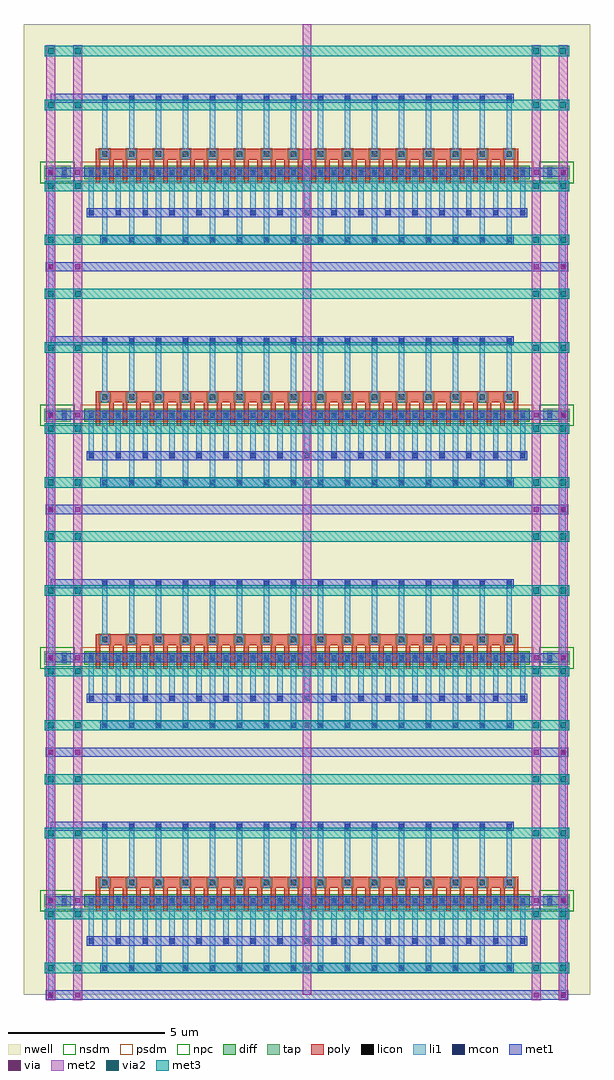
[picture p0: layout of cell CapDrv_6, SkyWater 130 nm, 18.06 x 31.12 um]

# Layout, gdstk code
from math import pi, radians
import gdstk
lib = gdstk.Library(unit=1e-6, precision=1e-09)
def R(c, l, rs):  # rectangles x0, y0, x1, y1
    for r in rs: c.add(gdstk.rectangle(r[:2], r[2:], *l))
def A(c, l, x, y, w, h, nx, ny, dx, dy):  # array of equal rectangles
    R(c, l, [(x+i*dx, y+j*dy, x+i*dx+w, y+j*dy+h) for i in range(nx) for j in range(ny)])
def P(c, l, *ps):  # polygons
    for p in ps: c.add(gdstk.Polygon(p, *l))
nwell = (64, 20)
diff = (65, 20)
tap = (65, 44)
poly = (66, 20)
licon = (66, 44)
li1 = (67, 20)
mcon = (67, 44)
met1 = (68, 20)
via = (68, 44)
met2 = (69, 20)
via2 = (69, 44)
met3 = (70, 20)
nsdm = (93, 44)
psdm = (94, 20)
npc = (95, 20)

mosend_6 = lib.new_cell('MOSEnd_6')
R(mosend_6, nwell, [(0,0,16.34,2.15)])

mosend_11 = lib.new_cell('MOSEnd_11')
R(mosend_11, nwell, [(0,0,16.34,3.87)])

mostap_1 = lib.new_cell('MOSTap_1')
R(mostap_1, nwell, [(-0.335,0,0.765,1.72)])
R(mostap_1, tap, [(-0.205,0.655,0.635,1.075)])
R(mostap_1, licon, [(-0.085,0.78,0.085,0.95), (0.345,0.78,0.515,0.95)])
R(mostap_1, li1, [(-0.085,0.7,0.085,1.03), (0.345,0.7,0.515,1.03)])
R(mostap_1, nsdm, [(-0.335,0.525,0.765,1.205)])

mosconn_2 = lib.new_cell('MOSConn_2')
R(mosconn_2, nwell, [(-0.345,0,14.105,1.72)])
R(mosconn_2, diff, [(-0.215,0.655,13.975,1.075)])
A(mosconn_2, poly, 0.345, 0.115, 0.17, 0.33, 16, 1, 0.86, 0)
P(mosconn_2, poly, [(13.47,1.205),(13.47,0.455),(13.19,0.455),(13.19,1.205),(13.04,1.205),(13.04,0.455),(12.76,0.455),(12.76,1.205),(12.61,1.205),(12.61,0.455),(12.33,0.455),(12.33,1.205),(12.18,1.205),(12.18,0.455),(11.9,0.455),(11.9,1.205),(11.75,1.205),(11.75,0.455),(11.47,0.455),(11.47,1.205),(11.32,1.205),(11.32,0.455),(11.04,0.455),(11.04,1.205),(10.89,1.205),(10.89,0.455),(10.61,0.455),(10.61,1.205),(10.46,1.205),(10.46,0.455),(10.18,0.455),(10.18,1.205),(10.03,1.205),(10.03,0.455),(9.75,0.455),(9.75,1.205),(9.6,1.205),(9.6,0.455),(9.32,0.455),(9.32,1.205),(9.17,1.205),(9.17,0.455),(8.89,0.455),(8.89,1.205),(8.74,1.205),(8.74,0.455),(8.46,0.455),(8.46,1.205),(8.31,1.205),(8.31,0.455),(8.03,0.455),(8.03,1.205),(7.88,1.205),(7.88,0.455),(7.6,0.455),(7.6,1.205),(7.45,1.205),(7.45,0.455),(7.17,0.455),(7.17,1.205),(7.02,1.205),(7.02,0.455),(6.74,0.455),(6.74,1.205),(6.59,1.205),(6.59,0.455),(6.31,0.455),(6.31,1.205),(6.16,1.205),(6.16,0.455),(5.88,0.455),(5.88,1.205),(5.73,1.205),(5.73,0.455),(5.45,0.455),(5.45,1.205),(5.3,1.205),(5.3,0.455),(5.02,0.455),(5.02,1.205),(4.87,1.205),(4.87,0.455),(4.59,0.455),(4.59,1.205),(4.44,1.205),(4.44,0.455),(4.16,0.455),(4.16,1.205),(4.01,1.205),(4.01,0.455),(3.73,0.455),(3.73,1.205),(3.58,1.205),(3.58,0.455),(3.3,0.455),(3.3,1.205),(3.15,1.205),(3.15,0.455),(2.87,0.455),(2.87,1.205),(2.72,1.205),(2.72,0.455),(2.44,0.455),(2.44,1.205),(2.29,1.205),(2.29,0.455),(2.01,0.455),(2.01,1.205),(1.86,1.205),(1.86,0.455),(1.58,0.455),(1.58,1.205),(1.43,1.205),(1.43,0.455),(1.15,0.455),(1.15,1.205),(1,1.205),(1,0.455),(0.72,0.455),(0.72,1.205),(0.57,1.205),(0.57,0.455),(0.29,0.455),(0.29,1.205),(0.14,1.205),(0.14,0.105),(13.62,0.105),(13.62,1.205)])
A(mosconn_2, licon, 0.345, 0.195, 0.17, 0.17, 16, 1, 0.86, 0)
A(mosconn_2, licon, -0.085, 0.78, 0.17, 0.17, 33, 1, 0.43, 0)
A(mosconn_2, li1, 0.29, 0.145, 0.28, 0.27, 16, 1, 0.86, 0)
A(mosconn_2, li1, -0.085, 0.7, 0.17, 0.33, 33, 1, 0.43, 0)
P(mosconn_2, li1, [(0.345,0.445),(0.345,0.415),(0.29,0.415),(0.29,0.145),(0.345,0.145),(0.345,0.115),(0.515,0.115),(0.515,0.145),(0.57,0.145),(0.57,0.415),(0.515,0.415),(0.515,0.445)],
  [(1.205,0.445),(1.205,0.415),(1.15,0.415),(1.15,0.145),(1.205,0.145),(1.205,0.115),(1.375,0.115),(1.375,0.145),(1.43,0.145),(1.43,0.415),(1.375,0.415),(1.375,0.445)],
  [(2.065,0.445),(2.065,0.415),(2.01,0.415),(2.01,0.145),(2.065,0.145),(2.065,0.115),(2.235,0.115),(2.235,0.145),(2.29,0.145),(2.29,0.415),(2.235,0.415),(2.235,0.445)],
  [(2.925,0.445),(2.925,0.415),(2.87,0.415),(2.87,0.145),(2.925,0.145),(2.925,0.115),(3.095,0.115),(3.095,0.145),(3.15,0.145),(3.15,0.415),(3.095,0.415),(3.095,0.445)],
  [(3.785,0.445),(3.785,0.415),(3.73,0.415),(3.73,0.145),(3.785,0.145),(3.785,0.115),(3.955,0.115),(3.955,0.145),(4.01,0.145),(4.01,0.415),(3.955,0.415),(3.955,0.445)],
  [(4.645,0.445),(4.645,0.415),(4.59,0.415),(4.59,0.145),(4.645,0.145),(4.645,0.115),(4.815,0.115),(4.815,0.145),(4.87,0.145),(4.87,0.415),(4.815,0.415),(4.815,0.445)],
  [(5.505,0.445),(5.505,0.415),(5.45,0.415),(5.45,0.145),(5.505,0.145),(5.505,0.115),(5.675,0.115),(5.675,0.145),(5.73,0.145),(5.73,0.415),(5.675,0.415),(5.675,0.445)],
  [(6.365,0.445),(6.365,0.415),(6.31,0.415),(6.31,0.145),(6.365,0.145),(6.365,0.115),(6.535,0.115),(6.535,0.145),(6.59,0.145),(6.59,0.415),(6.535,0.415),(6.535,0.445)],
  [(7.225,0.445),(7.225,0.415),(7.17,0.415),(7.17,0.145),(7.225,0.145),(7.225,0.115),(7.395,0.115),(7.395,0.145),(7.45,0.145),(7.45,0.415),(7.395,0.415),(7.395,0.445)],
  [(8.085,0.445),(8.085,0.415),(8.03,0.415),(8.03,0.145),(8.085,0.145),(8.085,0.115),(8.255,0.115),(8.255,0.145),(8.31,0.145),(8.31,0.415),(8.255,0.415),(8.255,0.445)],
  [(8.945,0.445),(8.945,0.415),(8.89,0.415),(8.89,0.145),(8.945,0.145),(8.945,0.115),(9.115,0.115),(9.115,0.145),(9.17,0.145),(9.17,0.415),(9.115,0.415),(9.115,0.445)],
  [(9.805,0.445),(9.805,0.415),(9.75,0.415),(9.75,0.145),(9.805,0.145),(9.805,0.115),(9.975,0.115),(9.975,0.145),(10.03,0.145),(10.03,0.415),(9.975,0.415),(9.975,0.445)],
  [(10.665,0.445),(10.665,0.415),(10.61,0.415),(10.61,0.145),(10.665,0.145),(10.665,0.115),(10.835,0.115),(10.835,0.145),(10.89,0.145),(10.89,0.415),(10.835,0.415),(10.835,0.445)],
  [(11.525,0.445),(11.525,0.415),(11.47,0.415),(11.47,0.145),(11.525,0.145),(11.525,0.115),(11.695,0.115),(11.695,0.145),(11.75,0.145),(11.75,0.415),(11.695,0.415),(11.695,0.445)],
  [(12.385,0.445),(12.385,0.415),(12.33,0.415),(12.33,0.145),(12.385,0.145),(12.385,0.115),(12.555,0.115),(12.555,0.145),(12.61,0.145),(12.61,0.415),(12.555,0.415),(12.555,0.445)],
  [(13.245,0.445),(13.245,0.415),(13.19,0.415),(13.19,0.145),(13.245,0.145),(13.245,0.115),(13.415,0.115),(13.415,0.145),(13.47,0.145),(13.47,0.415),(13.415,0.415),(13.415,0.445)])
R(mosconn_2, psdm, [(-0.345,0.525,14.105,1.205)])
A(mosconn_2, npc, 0.245, 0.095, 0.37, 0.37, 16, 1, 0.86, 0)

capdrvcore_6 = lib.new_cell('CapDrvCore_6')
A(capdrvcore_6, li1, 1.635, 0.715, 0.17, 2.455, 16, 4, 0.86, 7.74)
A(capdrvcore_6, li1, 1.635, 0.715, 0.17, 0.29, 16, 2, 0.86, 4.515)
A(capdrvcore_6, li1, 1.205, 1.575, 0.17, 1.595, 17, 4, 0.86, 7.74)
A(capdrvcore_6, li1, 1.205, 1.575, 0.17, 0.29, 17, 4, 0.86, 7.74)
A(capdrvcore_6, li1, 1.635, 3.425, 0.17, 2.095, 16, 4, 0.86, 7.74)
A(capdrvcore_6, li1, 1.635, 8.455, 0.17, 0.29, 16, 2, 0.86, 4.515)
A(capdrvcore_6, li1, 1.635, 16.195, 0.17, 0.29, 16, 2, 0.86, 4.515)
A(capdrvcore_6, li1, 1.635, 23.935, 0.17, 0.29, 16, 2, 0.86, 4.515)
R(capdrvcore_6, li1, [(-0.085,-0.145,0.085,26.39), (-0.085,-0.145,0.085,0.145), (16.255,-0.145,16.425,26.39), (16.255,-0.145,16.425,0.145), (-0.085,2.865,0.085,3.155), (16.255,2.865,16.425,3.155), (-0.085,7.595,0.085,7.885), (16.255,7.595,16.425,7.885), (-0.085,10.605,0.085,10.895), (16.255,10.605,16.425,10.895), (-0.085,15.335,0.085,15.625), (16.255,15.335,16.425,15.625), (-0.085,18.345,0.085,18.635), (16.255,18.345,16.425,18.635), (-0.085,23.075,0.085,23.365), (16.255,23.075,16.425,23.365), (-0.085,26.085,0.085,26.375), (16.255,26.085,16.425,26.375)])
A(capdrvcore_6, mcon, 1.635, 0.775, 0.17, 0.17, 16, 2, 0.86, 4.515)
A(capdrvcore_6, mcon, 1.205, 1.635, 0.17, 0.17, 17, 4, 0.86, 7.74)
A(capdrvcore_6, mcon, 1.635, 8.515, 0.17, 0.17, 16, 2, 0.86, 4.515)
A(capdrvcore_6, mcon, 1.635, 16.255, 0.17, 0.17, 16, 2, 0.86, 4.515)
A(capdrvcore_6, mcon, 1.635, 23.995, 0.17, 0.17, 16, 2, 0.86, 4.515)
R(capdrvcore_6, mcon, [(-0.085,-0.085,0.085,0.085), (16.255,-0.085,16.425,0.085), (-0.085,2.925,0.085,3.095), (16.255,2.925,16.425,3.095), (-0.085,7.655,0.085,7.825), (16.255,7.655,16.425,7.825), (-0.085,10.665,0.085,10.835), (16.255,10.665,16.425,10.835), (-0.085,15.395,0.085,15.565), (16.255,15.395,16.425,15.565), (-0.085,18.405,0.085,18.575), (16.255,18.405,16.425,18.575), (-0.085,23.135,0.085,23.305), (16.255,23.135,16.425,23.305), (-0.085,26.145,0.085,26.315), (16.255,26.145,16.425,26.315)])
A(capdrvcore_6, met1, 1.575, 0.715, 13.19, 0.29, 1, 4, 0, 7.74)
A(capdrvcore_6, met1, 1.575, 0.715, 0.29, 0.29, 16, 2, 0.86, 4.515)
A(capdrvcore_6, met1, 8.01, 0.715, 0.32, 0.29, 1, 4, 0, 7.74)
A(capdrvcore_6, met1, 1.145, 1.575, 14.05, 0.29, 1, 4, 0, 7.74)
A(capdrvcore_6, met1, 1.145, 1.575, 0.29, 0.29, 17, 4, 0.86, 7.74)
A(capdrvcore_6, met1, -0.005, 5.23, 14.77, 0.29, 1, 4, 0, 7.74)
A(capdrvcore_6, met1, 1.575, 8.455, 0.29, 0.29, 16, 2, 0.86, 4.515)
A(capdrvcore_6, met1, 1.575, 16.195, 0.29, 0.29, 16, 2, 0.86, 4.515)
A(capdrvcore_6, met1, 1.575, 23.935, 0.29, 0.29, 16, 2, 0.86, 4.515)
R(capdrvcore_6, met1, [(-0.16,-0.145,16.5,0.145), (-0.16,-0.145,0.16,0.145), (-0.145,-0.145,0.145,0.145), (0.7,-0.145,1.02,0.145), (15.32,-0.145,15.64,0.145), (16.18,-0.145,16.5,0.145), (16.195,-0.145,16.485,0.145), (-0.16,2.865,16.5,3.155), (-0.16,2.865,0.16,3.155), (-0.145,2.865,0.145,3.155), (0.7,2.865,1.02,3.155), (15.32,2.865,15.64,3.155), (16.18,2.865,16.5,3.155), (16.195,2.865,16.485,3.155), (-0.16,7.595,16.5,7.885), (-0.16,7.595,0.16,7.885), (-0.145,7.595,0.145,7.885), (0.7,7.595,1.02,7.885), (15.32,7.595,15.64,7.885), (16.18,7.595,16.5,7.885), (16.195,7.595,16.485,7.885), (-0.16,10.605,16.5,10.895), (-0.16,10.605,0.16,10.895), (-0.145,10.605,0.145,10.895), (0.7,10.605,1.02,10.895), (15.32,10.605,15.64,10.895), (16.18,10.605,16.5,10.895), (16.195,10.605,16.485,10.895), (-0.16,15.335,16.5,15.625), (-0.16,15.335,0.16,15.625), (-0.145,15.335,0.145,15.625), (0.7,15.335,1.02,15.625), (15.32,15.335,15.64,15.625), (16.18,15.335,16.5,15.625), (16.195,15.335,16.485,15.625), (-0.16,18.345,16.5,18.635), (-0.16,18.345,0.16,18.635), (-0.145,18.345,0.145,18.635), (0.7,18.345,1.02,18.635), (15.32,18.345,15.64,18.635), (16.18,18.345,16.5,18.635), (16.195,18.345,16.485,18.635), (-0.16,23.075,16.5,23.365), (-0.16,23.075,0.16,23.365), (-0.145,23.075,0.145,23.365), (0.7,23.075,1.02,23.365), (15.32,23.075,15.64,23.365), (16.18,23.075,16.5,23.365), (16.195,23.075,16.485,23.365), (-0.16,26.085,16.5,26.375), (-0.16,26.085,0.16,26.375), (-0.145,26.085,0.145,26.375), (0.7,26.085,1.02,26.375), (15.32,26.085,15.64,26.375), (16.18,26.085,16.5,26.375), (16.195,26.085,16.485,26.375)])
A(capdrvcore_6, via, 8.095, 0.785, 0.15, 0.15, 1, 4, 0, 7.74)
R(capdrvcore_6, via, [(-0.075,-0.075,0.075,0.075), (0.785,-0.075,0.935,0.075), (15.405,-0.075,15.555,0.075), (16.265,-0.075,16.415,0.075), (-0.075,2.935,0.075,3.085), (0.785,2.935,0.935,3.085), (15.405,2.935,15.555,3.085), (16.265,2.935,16.415,3.085), (-0.075,7.665,0.075,7.815), (0.785,7.665,0.935,7.815), (15.405,7.665,15.555,7.815), (16.265,7.665,16.415,7.815), (-0.075,10.675,0.075,10.825), (0.785,10.675,0.935,10.825), (15.405,10.675,15.555,10.825), (16.265,10.675,16.415,10.825), (-0.075,15.405,0.075,15.555), (0.785,15.405,0.935,15.555), (15.405,15.405,15.555,15.555), (16.265,15.405,16.415,15.555), (-0.075,18.415,0.075,18.565), (0.785,18.415,0.935,18.565), (15.405,18.415,15.555,18.565), (16.265,18.415,16.415,18.565), (-0.075,23.145,0.075,23.295), (0.785,23.145,0.935,23.295), (15.405,23.145,15.555,23.295), (16.265,23.145,16.415,23.295), (-0.075,26.155,0.075,26.305), (0.785,26.155,0.935,26.305), (15.405,26.155,15.555,26.305), (16.265,26.155,16.415,26.305)])
A(capdrvcore_6, met2, 8.03, 0.7, 0.28, 0.32, 1, 4, 0, 7.74)
A(capdrvcore_6, met2, -0.14, 4.975, 0.28, 0.37, 1, 4, 0, 1.72)
A(capdrvcore_6, met2, 0.72, 4.975, 0.28, 0.37, 1, 4, 0, 1.72)
A(capdrvcore_6, met2, 15.34, 4.975, 0.28, 0.37, 1, 4, 0, 1.72)
A(capdrvcore_6, met2, 16.2, 4.975, 0.28, 0.37, 1, 4, 0, 1.72)
A(capdrvcore_6, met2, -0.14, 12.715, 0.28, 0.37, 1, 4, 0, 1.72)
A(capdrvcore_6, met2, 0.72, 12.715, 0.28, 0.37, 1, 4, 0, 1.72)
A(capdrvcore_6, met2, 15.34, 12.715, 0.28, 0.37, 1, 4, 0, 1.72)
A(capdrvcore_6, met2, 16.2, 12.715, 0.28, 0.37, 1, 4, 0, 1.72)
A(capdrvcore_6, met2, -0.14, 20.455, 0.28, 0.37, 1, 4, 0, 1.72)
A(capdrvcore_6, met2, 0.72, 20.455, 0.28, 0.37, 1, 4, 0, 1.72)
A(capdrvcore_6, met2, 15.34, 20.455, 0.28, 0.37, 1, 4, 0, 1.72)
A(capdrvcore_6, met2, 16.2, 20.455, 0.28, 0.37, 1, 4, 0, 1.72)
R(capdrvcore_6, met2, [(-0.14,-0.16,0.14,30.285), (-0.14,-0.16,0.14,0.16), (0.72,-0.16,1,30.285), (0.72,-0.16,1,0.16), (15.34,-0.16,15.62,30.285), (15.34,-0.16,15.62,0.16), (16.2,-0.16,16.48,30.285), (16.2,-0.16,16.48,0.16), (8.03,0,8.31,30.96), (-0.14,0.675,0.14,1.045), (0.72,0.675,1,1.045), (15.34,0.675,15.62,1.045), (16.2,0.675,16.48,1.045), (-0.14,2.395,0.14,2.765), (0.72,2.395,1,2.765), (15.34,2.395,15.62,2.765), (16.2,2.395,16.48,2.765), (-0.14,2.85,0.14,3.17), (0.72,2.85,1,3.17), (15.34,2.85,15.62,3.17), (16.2,2.85,16.48,3.17), (-0.14,7.58,0.14,7.9), (0.72,7.58,1,7.9), (15.34,7.58,15.62,7.9), (16.2,7.58,16.48,7.9), (-0.14,10.59,0.14,10.91), (0.72,10.59,1,10.91), (15.34,10.59,15.62,10.91), (16.2,10.59,16.48,10.91), (-0.14,15.32,0.14,15.64), (0.72,15.32,1,15.64), (15.34,15.32,15.62,15.64), (16.2,15.32,16.48,15.64), (-0.14,18.33,0.14,18.65), (0.72,18.33,1,18.65), (15.34,18.33,15.62,18.65), (16.2,18.33,16.48,18.65), (-0.14,23.06,0.14,23.38), (0.72,23.06,1,23.38), (15.34,23.06,15.62,23.38), (16.2,23.06,16.48,23.38), (-0.14,26.07,0.14,26.39), (0.72,26.07,1,26.39), (15.34,26.07,15.62,26.39), (16.2,26.07,16.48,26.39), (-0.14,28.195,0.14,28.565), (0.72,28.195,1,28.565), (15.34,28.195,15.62,28.565), (16.2,28.195,16.48,28.565), (-0.14,29.915,0.14,30.285), (0.72,29.915,1,30.285), (15.34,29.915,15.62,30.285), (16.2,29.915,16.48,30.285)])
A(capdrvcore_6, via2, -0.1, 5.06, 0.2, 0.2, 1, 4, 0, 1.72)
A(capdrvcore_6, via2, 0.76, 5.06, 0.2, 0.2, 1, 4, 0, 1.72)
A(capdrvcore_6, via2, 15.38, 5.06, 0.2, 0.2, 1, 4, 0, 1.72)
A(capdrvcore_6, via2, 16.24, 5.06, 0.2, 0.2, 1, 4, 0, 1.72)
A(capdrvcore_6, via2, -0.1, 12.8, 0.2, 0.2, 1, 4, 0, 1.72)
A(capdrvcore_6, via2, 0.76, 12.8, 0.2, 0.2, 1, 4, 0, 1.72)
A(capdrvcore_6, via2, 15.38, 12.8, 0.2, 0.2, 1, 4, 0, 1.72)
A(capdrvcore_6, via2, 16.24, 12.8, 0.2, 0.2, 1, 4, 0, 1.72)
A(capdrvcore_6, via2, -0.1, 20.54, 0.2, 0.2, 1, 4, 0, 1.72)
A(capdrvcore_6, via2, 0.76, 20.54, 0.2, 0.2, 1, 4, 0, 1.72)
A(capdrvcore_6, via2, 15.38, 20.54, 0.2, 0.2, 1, 4, 0, 1.72)
A(capdrvcore_6, via2, 16.24, 20.54, 0.2, 0.2, 1, 4, 0, 1.72)
R(capdrvcore_6, via2, [(-0.1,0.76,0.1,0.96), (0.76,0.76,0.96,0.96), (15.38,0.76,15.58,0.96), (16.24,0.76,16.44,0.96), (-0.1,2.48,0.1,2.68), (0.76,2.48,0.96,2.68), (15.38,2.48,15.58,2.68), (16.24,2.48,16.44,2.68), (-0.1,28.28,0.1,28.48), (0.76,28.28,0.96,28.48), (15.38,28.28,15.58,28.48), (16.24,28.28,16.44,28.48), (-0.1,30,0.1,30.2), (0.76,30,0.96,30.2), (15.38,30,15.58,30.2), (16.24,30,16.44,30.2)])
A(capdrvcore_6, met3, -0.185, 4.995, 16.71, 0.33, 1, 4, 0, 1.72)
A(capdrvcore_6, met3, -0.185, 4.995, 0.37, 0.33, 1, 4, 0, 1.72)
A(capdrvcore_6, met3, 0.675, 4.995, 0.37, 0.33, 1, 4, 0, 1.72)
A(capdrvcore_6, met3, 15.295, 4.995, 0.37, 0.33, 1, 4, 0, 1.72)
A(capdrvcore_6, met3, 16.155, 4.995, 0.37, 0.33, 1, 4, 0, 1.72)
A(capdrvcore_6, met3, -0.185, 12.735, 16.71, 0.33, 1, 4, 0, 1.72)
A(capdrvcore_6, met3, -0.185, 12.735, 0.37, 0.33, 1, 4, 0, 1.72)
A(capdrvcore_6, met3, 0.675, 12.735, 0.37, 0.33, 1, 4, 0, 1.72)
A(capdrvcore_6, met3, 15.295, 12.735, 0.37, 0.33, 1, 4, 0, 1.72)
A(capdrvcore_6, met3, 16.155, 12.735, 0.37, 0.33, 1, 4, 0, 1.72)
A(capdrvcore_6, met3, -0.185, 20.475, 16.71, 0.33, 1, 4, 0, 1.72)
A(capdrvcore_6, met3, -0.185, 20.475, 0.37, 0.33, 1, 4, 0, 1.72)
A(capdrvcore_6, met3, 0.675, 20.475, 0.37, 0.33, 1, 4, 0, 1.72)
A(capdrvcore_6, met3, 15.295, 20.475, 0.37, 0.33, 1, 4, 0, 1.72)
A(capdrvcore_6, met3, 16.155, 20.475, 0.37, 0.33, 1, 4, 0, 1.72)
R(capdrvcore_6, met3, [(-0.185,0.695,16.525,1.025), (-0.185,0.695,0.185,1.025), (0.675,0.695,1.045,1.025), (15.295,0.695,15.665,1.025), (16.155,0.695,16.525,1.025), (-0.185,2.415,16.525,2.745), (-0.185,2.415,0.185,2.745), (0.675,2.415,1.045,2.745), (15.295,2.415,15.665,2.745), (16.155,2.415,16.525,2.745), (-0.185,28.215,16.525,28.545), (-0.185,28.215,0.185,28.545), (0.675,28.215,1.045,28.545), (15.295,28.215,15.665,28.545), (16.155,28.215,16.525,28.545), (-0.185,29.935,16.525,30.265), (-0.185,29.935,0.185,30.265), (0.675,29.935,1.045,30.265), (15.295,29.935,15.665,30.265), (16.155,29.935,16.525,30.265)])
capdrvcore_6.add(gdstk.Reference(mostap_1, (0,3.87), x_reflection=True))
capdrvcore_6.add(gdstk.Reference(mosconn_2, (1.29,3.87), x_reflection=True))
capdrvcore_6.add(gdstk.Reference(mostap_1, (16.34,3.87), rotation=pi))
capdrvcore_6.add(gdstk.Reference(mostap_1, (0,11.61), x_reflection=True))
capdrvcore_6.add(gdstk.Reference(mosconn_2, (1.29,11.61), x_reflection=True))
capdrvcore_6.add(gdstk.Reference(mostap_1, (16.34,11.61), rotation=pi))
capdrvcore_6.add(gdstk.Reference(mostap_1, (0,19.35), x_reflection=True))
capdrvcore_6.add(gdstk.Reference(mosconn_2, (1.29,19.35), x_reflection=True))
capdrvcore_6.add(gdstk.Reference(mostap_1, (16.34,19.35), rotation=pi))
capdrvcore_6.add(gdstk.Reference(mostap_1, (0,27.09), x_reflection=True))
capdrvcore_6.add(gdstk.Reference(mosconn_2, (1.29,27.09), x_reflection=True))
capdrvcore_6.add(gdstk.Reference(mostap_1, (16.34,27.09), rotation=pi))

moscorner_4 = lib.new_cell('MOSCorner_4')
R(moscorner_4, nwell, [(0,0,0.86,2.15)])

moscorner_9 = lib.new_cell('MOSCorner_9')
R(moscorner_9, nwell, [(0,0,0.86,3.87)])

mosrowedge_2 = lib.new_cell('MOSRowEdge_2')
R(mosrowedge_2, nwell, [(0,0,0.86,1.72)])

mosspace_7 = lib.new_cell('MOSSpace_7')
R(mosspace_7, nwell, [(0,0,0.86,1.72)])

mosspace_8 = lib.new_cell('MOSSpace_8')
R(mosspace_8, nwell, [(0,0,0.86,1.72)])

capdrv_6 = lib.new_cell('CapDrv_6')
A(capdrv_6, nwell, 0, 3.87, 18.06, 6.02, 1, 3, 0, 7.74)
capdrv_6.add(gdstk.Reference(mosend_6, (0.86,0)))
capdrv_6.add(gdstk.Reference(mosend_11, (0.86,30.96), x_reflection=True))
capdrv_6.add(gdstk.Reference(capdrvcore_6, (0.86,0)))
capdrv_6.add(gdstk.Reference(moscorner_4, (0,0)))
capdrv_6.add(gdstk.Reference(moscorner_4, (18.06,0), rotation=pi, x_reflection=True))
capdrv_6.add(gdstk.Reference(moscorner_9, (0,30.96), x_reflection=True))
capdrv_6.add(gdstk.Reference(moscorner_9, (18.06,30.96), rotation=pi))
capdrv_6.add(gdstk.Reference(mosrowedge_2, (0,3.87), x_reflection=True))
capdrv_6.add(gdstk.Reference(mosrowedge_2, (18.06,3.87), rotation=pi))
capdrv_6.add(gdstk.Reference(mosrowedge_2, (0,11.61), x_reflection=True))
capdrv_6.add(gdstk.Reference(mosrowedge_2, (18.06,11.61), rotation=pi))
capdrv_6.add(gdstk.Reference(mosrowedge_2, (0,19.35), x_reflection=True))
capdrv_6.add(gdstk.Reference(mosrowedge_2, (18.06,19.35), rotation=pi))
capdrv_6.add(gdstk.Reference(mosrowedge_2, (0,27.09), x_reflection=True))
capdrv_6.add(gdstk.Reference(mosrowedge_2, (18.06,27.09), rotation=pi))
capdrv_6.add(gdstk.Reference(mosspace_7, (1.29,3.87), x_reflection=True))
capdrv_6.add(gdstk.Reference(mosspace_8, (15.91,3.87), x_reflection=True))
capdrv_6.add(gdstk.Reference(mosspace_7, (1.29,11.61), x_reflection=True))
capdrv_6.add(gdstk.Reference(mosspace_8, (15.91,11.61), x_reflection=True))
capdrv_6.add(gdstk.Reference(mosspace_7, (1.29,19.35), x_reflection=True))
capdrv_6.add(gdstk.Reference(mosspace_8, (15.91,19.35), x_reflection=True))
capdrv_6.add(gdstk.Reference(mosspace_7, (1.29,27.09), x_reflection=True))
capdrv_6.add(gdstk.Reference(mosspace_8, (15.91,27.09), x_reflection=True))

lib.write_gds('CapDrv_6.gds')
